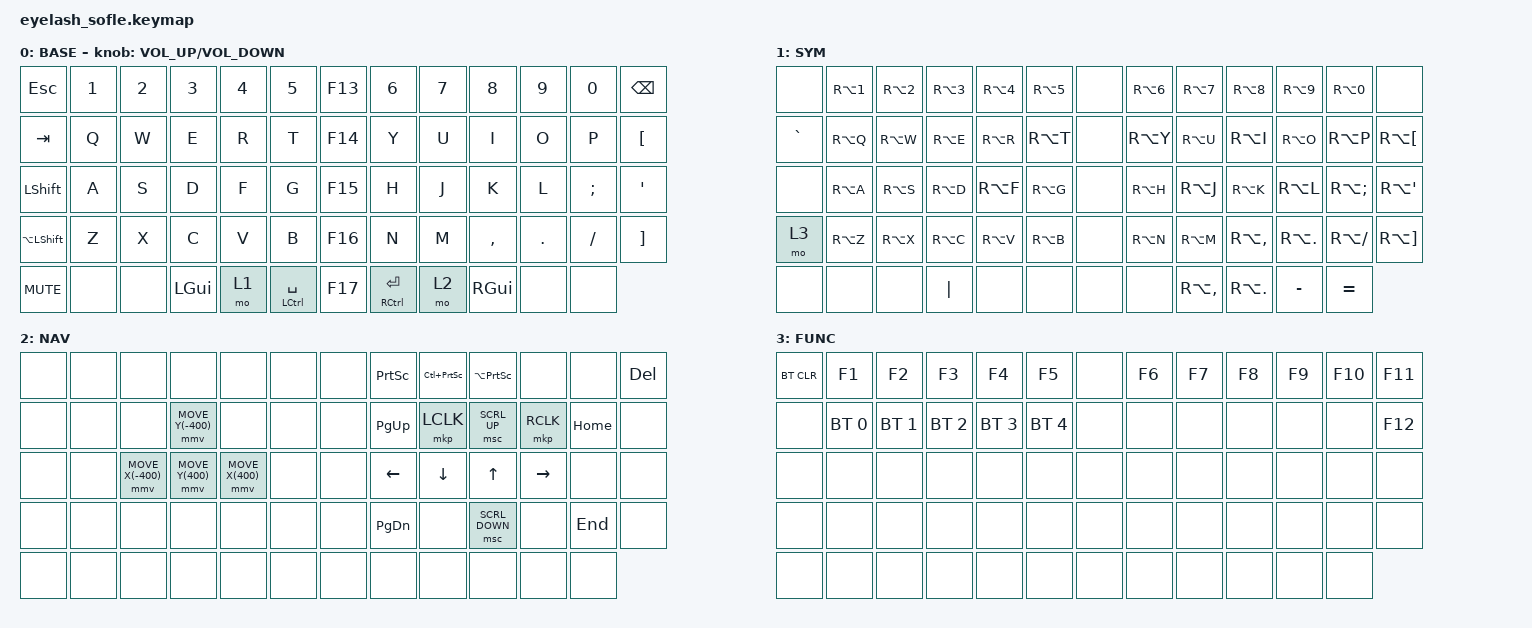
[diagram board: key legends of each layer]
#define ZMK_POINTING_DEFAULT_MOVE_VAL 1200  // 600
#define ZMK_POINTING_DEFAULT_SCRL_VAL 25   // 10

#include <input/processors.dtsi>
#include <zephyr/dt-bindings/input/input-event-codes.h>
#include <behaviors.dtsi>
#include <dt-bindings/zmk/bt.h>
#include <dt-bindings/zmk/keys.h>
#include <dt-bindings/zmk/pointing.h>

&mmv_input_listener { input-processors = <&zip_xy_scaler 2 1>; };

&msc_input_listener { input-processors = <&zip_scroll_scaler 2 1>; };

&msc {
    acceleration-exponent = <1>;      // 0
    time-to-max-speed-ms = <100>;       // 300
    delay-ms = <0>;                   // 0
};

&mmv {
    time-to-max-speed-ms = <500>;
    acceleration-exponent = <1>;
    trigger-period-ms = <16>;
};

&soft_off { hold-time-ms = <2000>; };

/ {
    scroll_encoder: scroll_encoder {
        compatible = "zmk,behavior-sensor-rotate";
        #sensor-binding-cells = <0>;
        bindings = <&msc SCRL_DOWN>, <&msc SCRL_UP>;

        tap-ms = <100>;
    };

    behaviors {
    };

    combos {
        compatible = "zmk,combos";

        left_ctrl {
            bindings = <&kp LCTRL>;
            key-positions = <30 29>;
            require-prior-idle-ms = <120>;
            layers = <0>;
            timeout-ms = <30>;
        };

        left_shift {
            bindings = <&kp LEFT_SHIFT>;
            key-positions = <30 28>;
            require-prior-idle-ms = <120>;
            layers = <0>;
            timeout-ms = <30>;
        };

        left_alt {
            bindings = <&kp LEFT_ALT>;
            key-positions = <30 27>;
            require-prior-idle-ms = <120>;
            layers = <0>;
            timeout-ms = <30>;
        };

        left_ctrl+shift {
            bindings = <&kp LC(LEFT_SHIFT)>;
            key-positions = <30 29 28>;
            require-prior-idle-ms = <120>;
            layers = <0>;
            timeout-ms = <30>;
        };

        left_ctrl+alt {
            bindings = <&kp LC(LEFT_ALT)>;
            key-positions = <30 29 27>;
            require-prior-idle-ms = <120>;
            layers = <0>;
            timeout-ms = <30>;
        };

        left_shift+alt {
            bindings = <&kp LS(LEFT_ALT)>;
            key-positions = <30 27 28>;
            require-prior-idle-ms = <120>;
            layers = <0>;
            timeout-ms = <30>;
        };

        right_ctrl {
            bindings = <&kp RCTRL>;
            key-positions = <34 35>;
            require-prior-idle-ms = <120>;
            layers = <0>;
            timeout-ms = <30>;
        };

        right_shift {
            bindings = <&kp RIGHT_SHIFT>;
            key-positions = <34 36>;
            require-prior-idle-ms = <120>;
            layers = <0>;
            timeout-ms = <30>;
        };

        right_alt {
            bindings = <&kp LEFT_ALT>;
            key-positions = <34 37>;
            require-prior-idle-ms = <120>;
            layers = <0>;
            timeout-ms = <30>;
        };

        right_ctrl+shift {
            bindings = <&kp RC(RIGHT_SHIFT)>;
            key-positions = <34 35 36>;
            require-prior-idle-ms = <120>;
            layers = <0>;
            timeout-ms = <30>;
        };

        right_ctrl+alt {
            bindings = <&kp LC(LEFT_ALT)>;
            key-positions = <34 35 37>;
            require-prior-idle-ms = <120>;
            layers = <0>;
            timeout-ms = <30>;
        };

        right_shift+alt {
            bindings = <&kp LS(LEFT_ALT)>;
            key-positions = <34 37 36>;
            require-prior-idle-ms = <120>;
            layers = <0>;
            timeout-ms = <30>;
        };
    };

    keymap {
        compatible = "zmk,keymap";

        BASE {
            bindings = <
&kp ESCAPE          &kp NUMBER_1  &kp NUMBER_2  &kp NUMBER_3  &kp NUMBER_4  &kp NUMBER_5       &kp F13  &kp NUMBER_6     &kp NUMBER_7  &kp NUMBER_8   &kp NUMBER_9  &kp NUMBER_0   &kp BACKSPACE
&kp TAB             &kp Q         &kp W         &kp E         &kp R         &kp T              &kp F14  &kp Y            &kp U         &kp I          &kp O         &kp P          &kp LEFT_BRACKET
&kp LEFT_SHIFT      &kp A         &kp S         &kp D         &kp F         &kp G              &kp F15  &kp H            &kp J         &kp K          &kp L         &kp SEMICOLON  &kp SINGLE_QUOTE
&kp LA(LEFT_SHIFT)  &kp Z         &kp X         &kp C         &kp V         &kp B              &kp F16  &kp N            &kp M         &kp COMMA      &kp PERIOD    &kp SLASH      &kp RIGHT_BRACKET
&kp K_MUTE          &none         &none         &kp LEFT_GUI  &mo 1         &mt LCTRL SPACE    &kp F17  &mt RCTRL ENTER  &mo 2         &kp RIGHT_GUI  &none         &none
            >;

            label = "BASE";
            sensor-bindings = <&inc_dec_kp C_VOLUME_UP C_VOLUME_DOWN>;
        };

        SYM {
            bindings = <
&none      &kp RA(NUMBER_1)  &kp RA(NUMBER_2)  &kp RA(NUMBER_3)  &kp RA(NUMBER_4)  &kp RA(NUMBER_5)    &none  &kp RA(NUMBER_6)  &kp RA(NUMBER_7)  &kp RA(NUMBER_8)  &kp RA(NUMBER_9)  &kp RA(NUMBER_0)   &none
&kp GRAVE  &kp RA(Q)         &kp RA(W)         &kp RA(E)         &kp RA(R)         &kp RA(T)           &none  &kp RA(Y)         &kp RA(U)         &kp RA(I)         &kp RA(O)         &kp RA(P)          &kp RA(LEFT_BRACKET)
&none      &kp RA(A)         &kp RA(S)         &kp RA(D)         &kp RA(F)         &kp RA(G)           &none  &kp RA(H)         &kp RA(J)         &kp RA(K)         &kp RA(L)         &kp RA(SEMICOLON)  &kp RA(SINGLE_QUOTE)
&mo 3      &kp RA(Z)         &kp RA(X)         &kp RA(C)         &kp RA(V)         &kp RA(B)           &none  &kp RA(N)         &kp RA(M)         &kp RA(COMMA)     &kp RA(DOT)       &kp RA(SLASH)      &kp RA(RIGHT_BRACKET)
&none      &none             &none             &kp PIPE          &none             &none               &none  &none             &kp RA(COMMA)     &kp RA(PERIOD)    &kp MINUS         &kp EQUAL
            >;

            label = "SYM";
        };

        NAV {
            bindings = <
&none  &none  &none              &none              &none             &none    &none  &kp PRINTSCREEN  &kp LC(PRINTSCREEN)  &kp LA(PRINTSCREEN)  &none      &none     &kp DELETE
&none  &none  &none              &mmv MOVE_Y(-400)  &none             &none    &none  &kp PAGE_UP      &mkp LCLK            &msc SCRL_UP         &mkp RCLK  &kp HOME  &none
&none  &none  &mmv MOVE_X(-400)  &mmv MOVE_Y(400)   &mmv MOVE_X(400)  &none    &none  &kp LEFT         &kp DOWN             &kp UP               &kp RIGHT  &none     &none
&none  &none  &none              &none              &none             &none    &none  &kp PAGE_DOWN    &none                &msc SCRL_DOWN       &none      &kp END   &none
&none  &none  &none              &none              &none             &none    &none  &none            &none                &none                &none      &none
            >;

            label = "NAV";
        };

        FUNC {
            bindings = <
&bt BT_CLR  &kp F1        &kp F2        &kp F3        &kp F4        &kp F5          &none  &kp F6  &kp F7  &kp F8  &kp F9  &kp F10  &kp F11
&none       &bt BT_SEL 0  &bt BT_SEL 1  &bt BT_SEL 2  &bt BT_SEL 3  &bt BT_SEL 4    &none  &none   &none   &none   &none   &none    &kp F12
&none       &none         &none         &none         &none         &none           &none  &none   &none   &none   &none   &none    &none
&none       &none         &none         &none         &none         &none           &none  &none   &none   &none   &none   &none    &none
&none       &none         &none         &none         &none         &none           &none  &none   &none   &none   &none   &none
            >;

            label = "FUNC";
        };
    };
};
